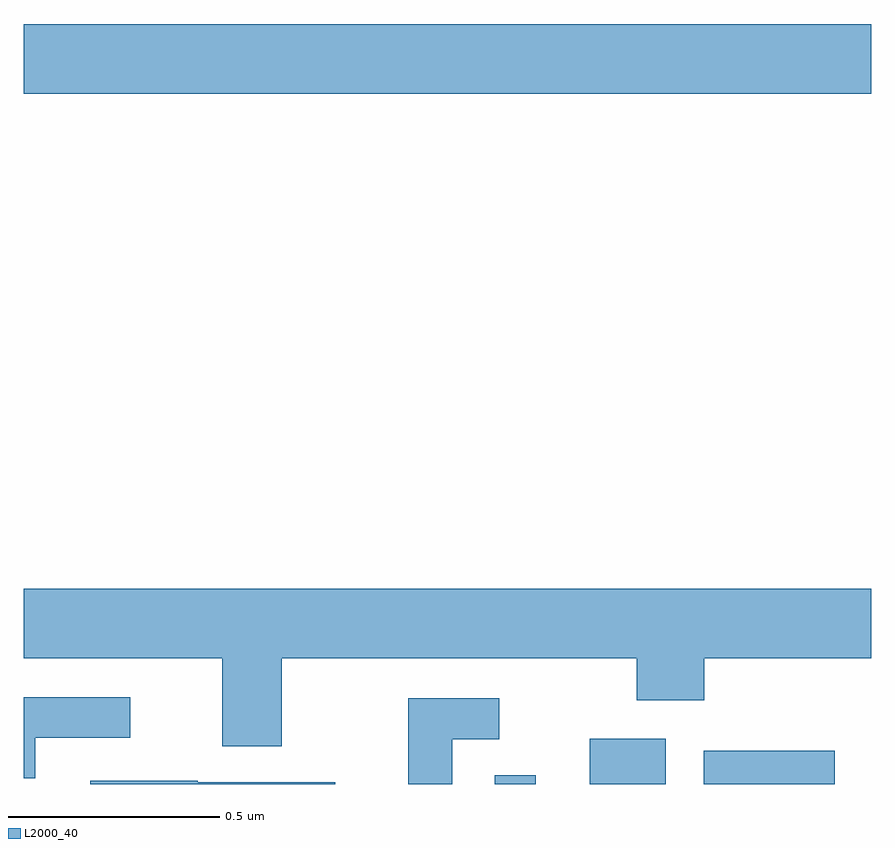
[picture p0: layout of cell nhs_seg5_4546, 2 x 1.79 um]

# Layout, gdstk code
import gdstk
lib = gdstk.Library(unit=1e-6, precision=1e-09)
def R(c, l, rs):  # rectangles x0, y0, x1, y1
    for r in rs: c.add(gdstk.rectangle(r[:2], r[2:], *l))
def P(c, l, *ps):  # polygons
    for p in ps: c.add(gdstk.Polygon(p, *l))
L2000_40 = (2000, 40)

nhs_seg5_4546 = lib.new_cell('nhs_seg5_4546')
R(nhs_seg5_4546, L2000_40, [(173.112,853.799,173.208,853.82), (173.336,853.799,173.515,853.906), (173.604,853.799,173.914,853.878), (172,855.428,174,855.592)])
P(nhs_seg5_4546, L2000_40, [(172.609,854.096),(173.446,854.096),(173.446,853.997),(173.606,853.997),(173.606,854.096),(174,854.096),(174,854.26),(172,854.26),(172,854.096),(172.469,854.096),(172.469,853.888),(172.609,853.888)],
  [(172.027,853.908),(172.252,853.908),(172.252,854.004),(172,854.004),(172,853.812),(172.027,853.812)],
  [(173.011,853.905),(173.122,853.905),(173.122,854.001),(172.907,854.001),(172.907,853.799),(173.011,853.799)],
  [(172.735,853.803),(172.411,853.803),(172.411,853.807),(172.157,853.807),(172.157,853.799),(172.735,853.799)])

lib.write_gds('nhs_seg5_4546.gds')
